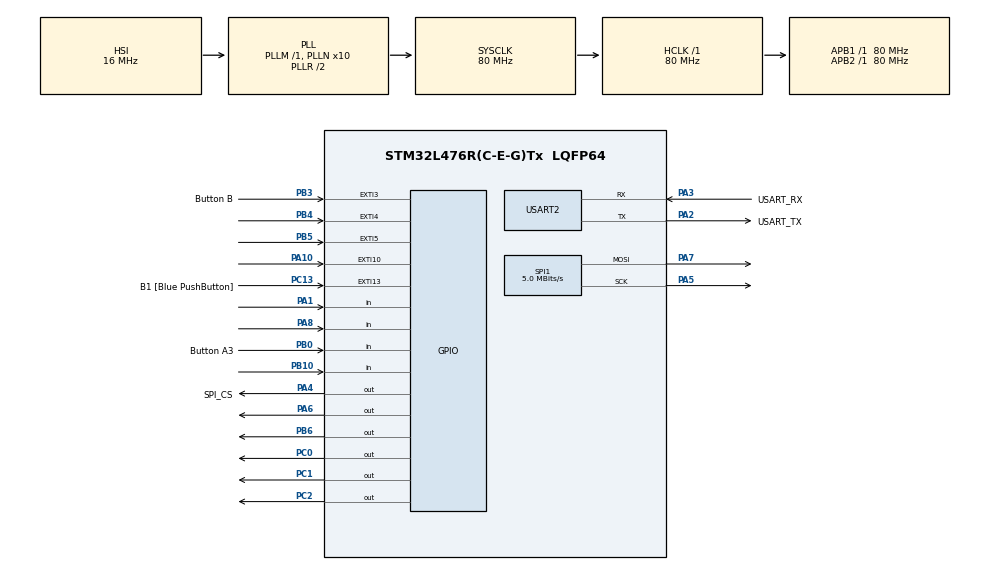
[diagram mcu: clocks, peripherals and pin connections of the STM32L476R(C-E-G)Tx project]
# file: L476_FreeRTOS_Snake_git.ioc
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FREERTOS.Tasks01=defaultTask,24,128,StartDefaultTask,Default,NULL,Dynamic,NULL,NULL
FREERTOS.configTOTAL_HEAP_SIZE=32000
FREERTOS.configUSE_APPLICATION_TASK_TAG=0
FREERTOS.configUSE_OS2_THREAD_ENUMERATE=1
FREERTOS.configUSE_TRACE_FACILITY=1
Mcu.Family=STM32L4
Mcu.Name=STM32L476R(C-E-G)Tx
Mcu.Package=LQFP64
NVIC.EXTI15_10_IRQn=true\:5\:0\:false\:false\:true\:true\:true\:false\:true
NVIC.EXTI3_IRQn=true\:5\:0\:false\:false\:true\:true\:true\:false\:true
NVIC.EXTI4_IRQn=true\:5\:0\:false\:false\:true\:true\:true\:false\:true
NVIC.EXTI9_5_IRQn=true\:5\:0\:false\:false\:true\:true\:true\:false\:true
NVIC.PriorityGroup=NVIC_PRIORITYGROUP_4
NVIC.TIM7_IRQn=true\:15\:0\:false\:false\:true\:false\:false\:true\:true
NVIC.TimeBase=TIM7_IRQn
NVIC.TimeBaseIP=TIM7
PA1.Signal=GPIO_Input
PA10.Signal=GPXTI10
PA13\ (JTMS-SWDIO).GPIO_Label=TMS
PA13\ (JTMS-SWDIO).Mode=Serial_Wire
PA13\ (JTMS-SWDIO).Signal=SYS_JTMS-SWDIO
PA14\ (JTCK-SWCLK).GPIO_Label=TCK
PA14\ (JTCK-SWCLK).Mode=Serial_Wire
PA14\ (JTCK-SWCLK).Signal=SYS_JTCK-SWCLK
PA2.GPIO_Label=USART_TX
PA2.GPIO_Mode=GPIO_MODE_AF_PP
PA2.GPIO_PuPd=GPIO_NOPULL
PA2.GPIO_Speed=GPIO_SPEED_FREQ_VERY_HIGH
PA2.Mode=Asynchronous
PA2.Signal=USART2_TX
PA3.GPIO_Label=USART_RX
PA3.GPIO_Mode=GPIO_MODE_AF_PP
PA3.GPIO_PuPd=GPIO_NOPULL
PA3.GPIO_Speed=GPIO_SPEED_FREQ_VERY_HIGH
PA3.Mode=Asynchronous
PA3.Signal=USART2_RX
PA4.GPIO_Label=SPI_CS
PA4.Signal=GPIO_Output
PA5.Mode=TX_Only_Simplex_Unidirect_Master
PA5.Signal=SPI1_SCK
PA6.Signal=GPIO_Output
PA7.Mode=TX_Only_Simplex_Unidirect_Master
PA7.Signal=SPI1_MOSI
PA8.Signal=GPIO_Input
PB0.GPIO_Label=Button A3
PB0.Signal=GPIO_Input
PB10.Signal=GPIO_Input
PB3\ (JTDO-TRACESWO).GPIO_Label=Button B
PB3\ (JTDO-TRACESWO).Signal=GPXTI3
PB4\ (NJTRST).Signal=GPXTI4
PB5.Signal=GPXTI5
PB6.Signal=GPIO_Output
PC0.Signal=GPIO_Output
PC1.Signal=GPIO_Output
PC13.GPIO_Label=B1 [Blue PushButton]
PC13.GPIO_ModeDefaultEXTI=GPIO_MODE_IT_FALLING
PC13.GPIO_PuPd=GPIO_NOPULL
PC13.Signal=GPXTI13
PC14-OSC32_IN\ (PC14).Mode=LSE-External-Oscillator
PC14-OSC32_IN\ (PC14).Signal=RCC_OSC32_IN
PC15-OSC32_OUT\ (PC15).Mode=LSE-External-Oscillator
PC15-OSC32_OUT\ (PC15).Signal=RCC_OSC32_OUT
PC2.Signal=GPIO_Output
PH0-OSC_IN\ (PH0).Signal=RCC_OSC_IN
PH1-OSC_OUT\ (PH1).Signal=RCC_OSC_OUT
ProjectManager.HeapSize=0x200
ProjectManager.StackSize=0x400
ProjectManager.TargetToolchain=STM32CubeIDE
RCC.ADCFreq_Value=64000000
RCC.AHBFreq_Value=80000000
RCC.APB1Freq_Value=80000000
RCC.APB1TimFreq_Value=80000000
RCC.APB2Freq_Value=80000000
RCC.APB2TimFreq_Value=80000000
RCC.CortexFreq_Value=80000000
RCC.HCLKFreq_Value=80000000
RCC.HSE_VALUE=8000000
RCC.HSI_VALUE=16000000
RCC.MSI_VALUE=4000000
RCC.PLLN=10
RCC.PLLSourceVirtual=RCC_PLLSOURCE_HSI
RCC.PREFETCH_ENABLE=1
RCC.SYSCLKFreq_VALUE=80000000
RCC.SYSCLKSource=RCC_SYSCLKSOURCE_PLLCLK
RCC.USBFreq_Value=64000000
RCC.VCOOutputFreq_Value=160000000
SPI1.BaudRatePrescaler=SPI_BAUDRATEPRESCALER_16
SPI1.CalculateBaudRate=5.0 MBits/s
SPI1.DataSize=SPI_DATASIZE_8BIT
SPI1.Direction=SPI_DIRECTION_2LINES
SPI1.Mode=SPI_MODE_MASTER
SPI1.NSSPMode=SPI_NSS_PULSE_ENABLE
SPI1.VirtualType=VM_MASTER
USART2.VirtualMode-Asynchronous=VM_ASYNC
VP_FREERTOS_VS_CMSIS_V2.Mode=CMSIS_V2
VP_SYS_VS_tim7.Mode=TIM7
board=NUCLEO-L476RG

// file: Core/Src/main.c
/* USER CODE BEGIN Header */
/**
  ******************************************************************************
  * @file           : main.c
  * @brief          : Main program body
  ******************************************************************************
  * @attention
  *
  * Copyright (c) 2022 STMicroelectronics.
  * All rights reserved.
  *
  * This software is licensed under terms that can be found in the LICENSE file
  * in the root directory of this software component.
  * If no LICENSE file comes with this software, it is provided AS-IS.
  *
  ******************************************************************************
  */
/* USER CODE END Header */
#include "main.h"
#include "cmsis_os.h"

/* USER CODE BEGIN Includes */
#include <stdio.h>
#include <stdlib.h>
#include <time.h>
#include "semphr.h"
#include "queue.h"
#include <string.h>
#include <max7219.h>
#include <max7219_matrix.h>
#include <llist.h>
/* USER CODE END Includes */

SPI_HandleTypeDef hspi1;

UART_HandleTypeDef huart2;

/* Definitions for defaultTask */
osThreadId_t defaultTaskHandle;
const osThreadAttr_t defaultTask_attributes = {
  .name = "defaultTask",
  .stack_size = 128 * 4,
  .priority = (osPriority_t) osPriorityNormal,
};

void SystemClock_Config(void);
static void MX_GPIO_Init(void);
static void MX_USART2_UART_Init(void);
static void MX_SPI1_Init(void);
void StartDefaultTask(void *argument);

/* USER CODE BEGIN PFP */
void GameLoop( void *pvParameters );
void ButtonHandler( void *pvParameters );
void CollisionCheck( void *pvParameters );
void PaintDeathScreen( void *pvParameters );
void FoodPositionGenerator( void *pvParameters );
void ButtonHandler_A( void *pvParameters );
void ButtonHandler_B( void *pvParameters );
void ButtonHandler_C( void *pvParameters );
void ButtonHandler_D( void *pvParameters );
void ScreenDriver( void *pvParameters );

QueueHandle_t xDirectionQ, xBoardQ, xSnakeQ, xCellStateQ, xFoodPositionQ;

SemaphoreHandle_t xButtonPressedSem, xGameOverSem, xCheckCollison, xCollisionChecked, xGenerateFood, xFoodGenerated, xRepaintScreen;
SemaphoreHandle_t xHandleButtonPressA, xHandleButtonPressB, xHandleButtonPressC, xHandleButtonPressD;
SemaphoreHandle_t xScreenDriverMutex;

/* USER CODE END PFP */

int main(void)
{
  /* USER CODE BEGIN 1 */

	//srand(212321);
	srand((unsigned int) time(NULL));

  /* USER CODE END 1 */

  /* MCU Configuration--------------------------------------------------------*/

  /* Reset of all peripherals, Initializes the Flash interface and the Systick. */
  HAL_Init();

  /* Configure the system clock */
  SystemClock_Config();

  /* Initialize all configured peripherals */
  MX_GPIO_Init();
  MX_USART2_UART_Init();
  MX_SPI1_Init();
  /* USER CODE BEGIN 2 */
  MAX7219_MatrixInit(&hspi1, SPI_CS_GPIO_Port, SPI_CS_Pin);
  MAX7219_MatrixUpdate();

  /* USER CODE END 2 */

  /* Init scheduler */
  osKernelInitialize();

  /* USER CODE BEGIN RTOS_SEMAPHORES */
  /* add semaphores, ... */

  xButtonPressedSem = xSemaphoreCreateBinary();
  xGameOverSem = xSemaphoreCreateBinary();
  xCheckCollison = xSemaphoreCreateBinary();
  xCollisionChecked = xSemaphoreCreateBinary();
  xGenerateFood = xSemaphoreCreateBinary();
  xFoodGenerated = xSemaphoreCreateBinary();
  xHandleButtonPressA = xSemaphoreCreateBinary();
  xHandleButtonPressB = xSemaphoreCreateBinary();
  xHandleButtonPressC = xSemaphoreCreateBinary();
  xHandleButtonPressD = xSemaphoreCreateBinary();
  xRepaintScreen = xSemaphoreCreateBinary();

  xScreenDriverMutex = xSemaphoreCreateMutex();
  /* USER CODE END RTOS_SEMAPHORES */

  /* USER CODE BEGIN RTOS_QUEUES */
  /* add queues, ... */

//  int test[4][8][8];
//  memset(test, 0, sizeof(test));
  xDirectionQ = xQueueCreate( 10, sizeof( char ) );
  xBoardQ = xQueueCreate( 2, sizeof( int ) *4 *8 *8 );
  xSnakeQ = xQueueCreate( 2, sizeof(  llist ) );
  //xCellStateQ = xQueueCreate( 5, sizeof( int ));
  xFoodPositionQ = xQueueCreate( 5, sizeof( int ) * 3);
  /* USER CODE END RTOS_QUEUES */

  /* Create the thread(s) */
  /* creation of defaultTask */
  defaultTaskHandle = osThreadNew(StartDefaultTask, NULL, &defaultTask_attributes);

  /* USER CODE BEGIN RTOS_THREADS */
  /* add threads, ... */
  xTaskCreate(GameLoop, "GameLoop", configMINIMAL_STACK_SIZE*8, NULL, 1, NULL );
  //xTaskCreate(ButtonHandler, "ButtonHandler", configMINIMAL_STACK_SIZE, NULL, 2, NULL );
  //xTaskCreate(CollisionCheck, "CollisionCheck", configMINIMAL_STACK_SIZE*8, NULL, 2, NULL );
  xTaskCreate(PaintDeathScreen, "PaintDeathScreen", configMINIMAL_STACK_SIZE, NULL, 5, NULL );
  xTaskCreate(FoodPositionGenerator, "FoodPositionGenerator", configMINIMAL_STACK_SIZE, NULL, 1, NULL );
  xTaskCreate(ButtonHandler_A, "ButtonHandler_A", configMINIMAL_STACK_SIZE, NULL, 3, NULL );
  xTaskCreate(ButtonHandler_B, "ButtonHandler_B", configMINIMAL_STACK_SIZE, NULL, 3, NULL );
  xTaskCreate(ButtonHandler_C, "ButtonHandler_C", configMINIMAL_STACK_SIZE, NULL, 3, NULL );
  xTaskCreate(ButtonHandler_D, "ButtonHandler_D", configMINIMAL_STACK_SIZE, NULL, 3, NULL );
  xTaskCreate(ScreenDriver, "ScreenDriver", configMINIMAL_STACK_SIZE*8, NULL, 1, NULL );

  // LOW
  /* USER CODE END RTOS_THREADS */

  /* Start scheduler */
  osKernelStart();

  /* We should never get here as control is now taken by the scheduler */
  /* Infinite loop */
  while (1)
  {

  }
}

void SystemClock_Config(void)
{
  RCC_OscInitTypeDef RCC_OscInitStruct = {0};
  RCC_ClkInitTypeDef RCC_ClkInitStruct = {0};

  /** Configure the main internal regulator output voltage
  */
  if (HAL_PWREx_ControlVoltageScaling(PWR_REGULATOR_VOLTAGE_SCALE1) != HAL_OK)
  {
    Error_Handler();
  }

  /** Initializes the RCC Oscillators according to the specified parameters
  * in the RCC_OscInitTypeDef structure.
  */
  RCC_OscInitStruct.OscillatorType = RCC_OSCILLATORTYPE_HSI;
  RCC_OscInitStruct.HSIState = RCC_HSI_ON;
  RCC_OscInitStruct.HSICalibrationValue = RCC_HSICALIBRATION_DEFAULT;
  RCC_OscInitStruct.PLL.PLLState = RCC_PLL_ON;
  RCC_OscInitStruct.PLL.PLLSource = RCC_PLLSOURCE_HSI;
  RCC_OscInitStruct.PLL.PLLM = 1;
  RCC_OscInitStruct.PLL.PLLN = 10;
  RCC_OscInitStruct.PLL.PLLP = RCC_PLLP_DIV7;
  RCC_OscInitStruct.PLL.PLLQ = RCC_PLLQ_DIV2;
  RCC_OscInitStruct.PLL.PLLR = RCC_PLLR_DIV2;
  if (HAL_RCC_OscConfig(&RCC_OscInitStruct) != HAL_OK)
  {
    Error_Handler();
  }

  /** Initializes the CPU, AHB and APB buses clocks
  */
  RCC_ClkInitStruct.ClockType = RCC_CLOCKTYPE_HCLK|RCC_CLOCKTYPE_SYSCLK
                              |RCC_CLOCKTYPE_PCLK1|RCC_CLOCKTYPE_PCLK2;
  RCC_ClkInitStruct.SYSCLKSource = RCC_SYSCLKSOURCE_PLLCLK;
  RCC_ClkInitStruct.AHBCLKDivider = RCC_SYSCLK_DIV1;
  RCC_ClkInitStruct.APB1CLKDivider = RCC_HCLK_DIV1;
  RCC_ClkInitStruct.APB2CLKDivider = RCC_HCLK_DIV1;

  if (HAL_RCC_ClockConfig(&RCC_ClkInitStruct, FLASH_LATENCY_4) != HAL_OK)
  {
    Error_Handler();
  }
}

static void MX_SPI1_Init(void)
{

  /* SPI1 parameter configuration*/
  hspi1.Instance = SPI1;
  hspi1.Init.Mode = SPI_MODE_MASTER;
  hspi1.Init.Direction = SPI_DIRECTION_2LINES;
  hspi1.Init.DataSize = SPI_DATASIZE_8BIT;
  hspi1.Init.CLKPolarity = SPI_POLARITY_LOW;
  hspi1.Init.CLKPhase = SPI_PHASE_1EDGE;
  hspi1.Init.NSS = SPI_NSS_SOFT;
  hspi1.Init.BaudRatePrescaler = SPI_BAUDRATEPRESCALER_16;
  hspi1.Init.FirstBit = SPI_FIRSTBIT_MSB;
  hspi1.Init.TIMode = SPI_TIMODE_DISABLE;
  hspi1.Init.CRCCalculation = SPI_CRCCALCULATION_DISABLE;
  hspi1.Init.CRCPolynomial = 7;
  hspi1.Init.CRCLength = SPI_CRC_LENGTH_DATASIZE;
  hspi1.Init.NSSPMode = SPI_NSS_PULSE_ENABLE;
  if (HAL_SPI_Init(&hspi1) != HAL_OK)
  {
    Error_Handler();
  }

}

static void MX_USART2_UART_Init(void)
{

  huart2.Instance = USART2;
  huart2.Init.BaudRate = 115200;
  huart2.Init.WordLength = UART_WORDLENGTH_8B;
  huart2.Init.StopBits = UART_STOPBITS_1;
  huart2.Init.Parity = UART_PARITY_NONE;
  huart2.Init.Mode = UART_MODE_TX_RX;
  huart2.Init.HwFlowCtl = UART_HWCONTROL_NONE;
  huart2.Init.OverSampling = UART_OVERSAMPLING_16;
  huart2.Init.OneBitSampling = UART_ONE_BIT_SAMPLE_DISABLE;
  huart2.AdvancedInit.AdvFeatureInit = UART_ADVFEATURE_NO_INIT;
  if (HAL_UART_Init(&huart2) != HAL_OK)
  {
    Error_Handler();
  }

}

static void MX_GPIO_Init(void)
{
  GPIO_InitTypeDef GPIO_InitStruct = {0};

  /* GPIO Ports Clock Enable */
  __HAL_RCC_GPIOC_CLK_ENABLE();
  __HAL_RCC_GPIOH_CLK_ENABLE();
  __HAL_RCC_GPIOA_CLK_ENABLE();
  __HAL_RCC_GPIOB_CLK_ENABLE();

  /*Configure GPIO pin Output Level */
  HAL_GPIO_WritePin(GPIOC, GPIO_PIN_0|GPIO_PIN_1|GPIO_PIN_2, GPIO_PIN_RESET);

  /*Configure GPIO pin Output Level */
  HAL_GPIO_WritePin(GPIOA, SPI_CS_Pin|GPIO_PIN_6, GPIO_PIN_RESET);

  /*Configure GPIO pin Output Level */
  HAL_GPIO_WritePin(GPIOB, GPIO_PIN_6, GPIO_PIN_RESET);

  /*Configure GPIO pin : B1_Pin */
  GPIO_InitStruct.Pin = B1_Pin;
  GPIO_InitStruct.Mode = GPIO_MODE_IT_FALLING;
  GPIO_InitStruct.Pull = GPIO_NOPULL;
  HAL_GPIO_Init(B1_GPIO_Port, &GPIO_InitStruct);

  /*Configure GPIO pins : PC0 PC1 PC2 */
  GPIO_InitStruct.Pin = GPIO_PIN_0|GPIO_PIN_1|GPIO_PIN_2;
  GPIO_InitStruct.Mode = GPIO_MODE_OUTPUT_PP;
  GPIO_InitStruct.Pull = GPIO_NOPULL;
  GPIO_InitStruct.Speed = GPIO_SPEED_FREQ_LOW;
  HAL_GPIO_Init(GPIOC, &GPIO_InitStruct);

  /*Configure GPIO pins : PA1 PA8 */
  GPIO_InitStruct.Pin = GPIO_PIN_1|GPIO_PIN_8;
  GPIO_InitStruct.Mode = GPIO_MODE_INPUT;
  GPIO_InitStruct.Pull = GPIO_NOPULL;
  HAL_GPIO_Init(GPIOA, &GPIO_InitStruct);

  /*Configure GPIO pins : SPI_CS_Pin PA6 */
  GPIO_InitStruct.Pin = SPI_CS_Pin|GPIO_PIN_6;
  GPIO_InitStruct.Mode = GPIO_MODE_OUTPUT_PP;
  GPIO_InitStruct.Pull = GPIO_NOPULL;
  GPIO_InitStruct.Speed = GPIO_SPEED_FREQ_LOW;
  HAL_GPIO_Init(GPIOA, &GPIO_InitStruct);

  /*Configure GPIO pins : Button_A3_Pin PB10 */
  GPIO_InitStruct.Pin = Button_A3_Pin|GPIO_PIN_10;
  GPIO_InitStruct.Mode = GPIO_MODE_INPUT;
  GPIO_InitStruct.Pull = GPIO_NOPULL;
  HAL_GPIO_Init(GPIOB, &GPIO_InitStruct);

  /*Configure GPIO pin : PA10 */
  GPIO_InitStruct.Pin = GPIO_PIN_10;
  GPIO_InitStruct.Mode = GPIO_MODE_IT_RISING;
  GPIO_InitStruct.Pull = GPIO_NOPULL;
  HAL_GPIO_Init(GPIOA, &GPIO_InitStruct);

  /*Configure GPIO pins : Button_B_Pin PB4 PB5 */
  GPIO_InitStruct.Pin = Button_B_Pin|GPIO_PIN_4|GPIO_PIN_5;
  GPIO_InitStruct.Mode = GPIO_MODE_IT_RISING;
  GPIO_InitStruct.Pull = GPIO_NOPULL;
  HAL_GPIO_Init(GPIOB, &GPIO_InitStruct);

  /*Configure GPIO pin : PB6 */
  GPIO_InitStruct.Pin = GPIO_PIN_6;
  GPIO_InitStruct.Mode = GPIO_MODE_OUTPUT_PP;
  GPIO_InitStruct.Pull = GPIO_NOPULL;
  GPIO_InitStruct.Speed = GPIO_SPEED_FREQ_LOW;
  HAL_GPIO_Init(GPIOB, &GPIO_InitStruct);

  /* EXTI interrupt init*/
  HAL_NVIC_SetPriority(EXTI3_IRQn, 5, 0);
  HAL_NVIC_EnableIRQ(EXTI3_IRQn);

  HAL_NVIC_SetPriority(EXTI4_IRQn, 5, 0);
  HAL_NVIC_EnableIRQ(EXTI4_IRQn);

  HAL_NVIC_SetPriority(EXTI9_5_IRQn, 5, 0);
  HAL_NVIC_EnableIRQ(EXTI9_5_IRQn);

  HAL_NVIC_SetPriority(EXTI15_10_IRQn, 5, 0);
  HAL_NVIC_EnableIRQ(EXTI15_10_IRQn);

}

/* USER CODE BEGIN 4 */
void EXTI3_IRQHandler(void)
{
  /* USER CODE BEGIN EXTI3_IRQn 0 */
	static  BaseType_t xHigherPriorityTaskWoken;
	xHigherPriorityTaskWoken = pdFALSE;
	__HAL_GPIO_EXTI_CLEAR_IT(GPIO_PIN_3);

	xSemaphoreGiveFromISR( xHandleButtonPressB, &xHigherPriorityTaskWoken );

	portYIELD_FROM_ISR( xHigherPriorityTaskWoken );

  /* USER CODE END EXTI3_IRQn 0 */

  /* USER CODE BEGIN EXTI3_IRQn 1 */

  /* USER CODE END EXTI3_IRQn 1 */
}

/**
  * @brief This function handles EXTI line4 interrupt.
  */
void EXTI4_IRQHandler(void)
{
  /* USER CODE BEGIN EXTI4_IRQn 0 */
	static  BaseType_t xHigherPriorityTaskWoken;
		xHigherPriorityTaskWoken = pdFALSE;
		__HAL_GPIO_EXTI_CLEAR_IT(GPIO_PIN_4);

		xSemaphoreGiveFromISR( xHandleButtonPressD, &xHigherPriorityTaskWoken );

		portYIELD_FROM_ISR( xHigherPriorityTaskWoken );

  /* USER CODE END EXTI4_IRQn 0 */
  /* USER CODE BEGIN EXTI4_IRQn 1 */

  /* USER CODE END EXTI4_IRQn 1 */
}

/**
  * @brief This function handles EXTI line[9:5] interrupts.
  */
void EXTI9_5_IRQHandler(void)
{
  /* USER CODE BEGIN EXTI9_5_IRQn 0 */
	static  BaseType_t xHigherPriorityTaskWoken;
		xHigherPriorityTaskWoken = pdFALSE;
		__HAL_GPIO_EXTI_CLEAR_IT(GPIO_PIN_5);

		xSemaphoreGiveFromISR( xHandleButtonPressC, &xHigherPriorityTaskWoken );

		portYIELD_FROM_ISR( xHigherPriorityTaskWoken );

  /* USER CODE END EXTI9_5_IRQn 0 */
  /* USER CODE BEGIN EXTI9_5_IRQn 1 */

  /* USER CODE END EXTI9_5_IRQn 1 */
}

/**
  * @brief This function handles EXTI line[15:10] interrupts.
  */
void EXTI15_10_IRQHandler(void)
{
  /* USER CODE BEGIN EXTI15_10_IRQn 0 */
	static  BaseType_t xHigherPriorityTaskWoken;
		xHigherPriorityTaskWoken = pdFALSE;
		__HAL_GPIO_EXTI_CLEAR_IT(GPIO_PIN_10);

		xSemaphoreGiveFromISR( xHandleButtonPressA, &xHigherPriorityTaskWoken );

		portYIELD_FROM_ISR( xHigherPriorityTaskWoken );

  /* USER CODE END EXTI15_10_IRQn 0 */
  /* USER CODE BEGIN EXTI15_10_IRQn 1 */

  /* USER CODE END EXTI15_10_IRQn 1 */
}

void ButtonHandler_A( void *pvParameters ){
	char buttonLetter = 'a';

	for(;;)
	    {

			if( xSemaphoreTake( xHandleButtonPressA, ( TickType_t ) portMAX_DELAY) == pdTRUE );
			xQueueSend( xDirectionQ, ( void * ) &buttonLetter,  portMAX_DELAY );
			xSemaphoreGive( xButtonPressedSem );
	    }
};
void ButtonHandler_B( void *pvParameters ){
	char buttonLetter = 'b';
	for(;;)
		    {

				if( xSemaphoreTake( xHandleButtonPressB, ( TickType_t ) portMAX_DELAY) == pdTRUE );
				xQueueSend( xDirectionQ, ( void * ) &buttonLetter,  portMAX_DELAY );
				xSemaphoreGive( xButtonPressedSem );
		    }
};
void ButtonHandler_C( void *pvParameters ){
	char buttonLetter = 'c';
	for(;;)
		    {

				if( xSemaphoreTake( xHandleButtonPressC, ( TickType_t ) portMAX_DELAY) == pdTRUE );
				xQueueSend( xDirectionQ, ( void * ) &buttonLetter,  portMAX_DELAY );
				xSemaphoreGive( xButtonPressedSem );
		    }
};
void ButtonHandler_D( void *pvParameters ){
	char buttonLetter = 'd';
	for(;;)
		    {

				if( xSemaphoreTake( xHandleButtonPressD, ( TickType_t ) portMAX_DELAY) == pdTRUE );
				xQueueSend( xDirectionQ, ( void * ) &buttonLetter,  portMAX_DELAY );
				xSemaphoreGive( xButtonPressedSem );
		    }

};

void ScreenDriver( void * pvParameters ){
	int board[4][8][8];

	for(;;)
			    {
		if( xSemaphoreTake( xRepaintScreen, ( TickType_t ) portMAX_DELAY) == pdTRUE );
		xQueueReceive( xBoardQ, &board, ( TickType_t ) 10 );

		MAX7219_paintPoints(0, board[0]);
		MAX7219_paintPoints(1, board[1]);
		MAX7219_paintPoints(2, board[2]);
		MAX7219_paintPoints(3, board[3]);
		MAX7219_MatrixUpdate();
			    }

};

void GameLoop( void * pvParameters )

{
	int board[4][8][8];
	char direction = 'a';
	char previousDirection = 'a';
	int delay = 250;
	int cellState = 0;
	int foodTimeout = 3;
	int food[3];
	int grow = 0;

	memset(board, 0, sizeof(board));

	llist *snake = llist_create(NULL);
	llist_push(snake, 0,4,1);
	llist_push(snake, 0,4,2);

	llist_printSnake(snake, board);

	if( xSemaphoreTake( xScreenDriverMutex, ( TickType_t ) portMAX_DELAY) == pdTRUE ) ;

	xQueueSend( xBoardQ, ( void * ) &board,  1 );
	xSemaphoreGive( xRepaintScreen );

	xSemaphoreGive(xScreenDriverMutex);

	vTaskDelay(delay);

    for(;;)
    {

    	if( xSemaphoreTake( xButtonPressedSem, ( TickType_t ) 1) == pdTRUE ){
    		previousDirection = direction;
    		xQueueReceive( xDirectionQ, &direction, ( TickType_t ) 10 );
    		switch (direction)
			{
				case 'b':
					if (previousDirection == 'd') direction = previousDirection;

					break;
				case 'd':

					if (previousDirection == 'b') direction = previousDirection;
					break;
				case 'c':

					if (previousDirection == 'a') direction = previousDirection;
					break;
				case 'a':

					if (previousDirection == 'c') direction = previousDirection;

					break;
				default:
					break;
			}

    		xQueueReset(xDirectionQ);
    	}else {

    		switch (direction)
			{
			case 'b':
				cellState = checkOccupiedDown( snake, board);

					if (cellState == 1 || cellState == -1) xSemaphoreGive( xGameOverSem );
					if (cellState == 2 ) {
						foodTimeout = 0;
						grow = 1;
					}
					 moveDown(snake, grow);

				break;
			case 'd':
				cellState = checkOccupiedUp( snake, board);

					if (cellState == 1 || cellState == -1) xSemaphoreGive( xGameOverSem );
					if (cellState == 2 ) {
										foodTimeout = 0;
										grow = 1;
									}
					moveUp(snake, grow);

				break;
			case 'c':
				cellState = checkOccupiedLeft( snake, board);

					if (cellState == 1 || cellState == -1) xSemaphoreGive( xGameOverSem );
					if (cellState == 2 ) {
										foodTimeout = 0;
										grow = 1;
									}
					 moveLeft(snake, grow);

				break;
			case 'a':
				cellState = checkOccupiedRight( snake, board);

					if (cellState == 1 || cellState == -1) xSemaphoreGive( xGameOverSem );
					if (cellState == 2 ) {
						foodTimeout = 0;
						grow = 1;
					}
					moveRight(snake, grow);

// not used, proof of concept:

				//if (checkOccupiedRight( *snake, board) != 0 ) xSemaphoreGive( xGameOverSem );
//				xQueueSend( xBoardQ, ( void * ) &board,  1 );
//				xQueueSend( xSnakeQ, ( void * ) &snake,  1 );
//				xSemaphoreGive( xCheckCollison );
//				if(xSemaphoreTake( xCollisionChecked, ( TickType_t ) portMAX_DELAY) == pdTRUE);
//				xQueueReceive( xCellStateQ, &cellState, ( TickType_t ) 10 );
				break;
			default:
				break;
			}
    		if (grow == 1) if (delay > 150) delay = delay - 5;
    		grow = 0;

    		memset(board, 0, sizeof(board));

    		if (foodTimeout == 6){
    			xQueueReset(xSnakeQ);
				xQueueSend( xSnakeQ, ( void * ) &snake,  10 );
				xSemaphoreGive( xGenerateFood );

				if(xSemaphoreTake( xFoodGenerated, ( TickType_t ) portMAX_DELAY) == pdTRUE);
				xQueueReceive( xFoodPositionQ, &food, ( TickType_t ) 10 );

			}
    		if (foodTimeout >= 6) board[food[0]][food[2]][food[1]] = 2;

        	llist_printSnake(snake, board);

//        	board[3][0][0] = 1; test code
//        	board[3][0][1] = 1;
//        	board[3][2][0] = 1;

        	if( xSemaphoreTake( xScreenDriverMutex, ( TickType_t ) portMAX_DELAY) == pdTRUE ) ;

			xQueueSend( xBoardQ, ( void * ) &board,  1 );
			xSemaphoreGive( xRepaintScreen );

			xSemaphoreGive(xScreenDriverMutex);

    		vTaskDelay(delay);
    		foodTimeout++;
    	}

    }

}

void FoodPositionGenerator(void *  pvParameters){

	llist *snakeBody;
	int display;
	int x;
	int y;
	int valid = 0;
	int food[3];
	for (int i = 0; i < 50; ++i) {
		rand();
	}

	for(;;) {

		if(xSemaphoreTake( xGenerateFood, ( TickType_t ) portMAX_DELAY) == pdTRUE);

		xQueueReceive( xSnakeQ, &snakeBody, ( TickType_t ) portMAX_DELAY );

		display = rand() % 4;

		x = rand() % 8;
		y = rand() % 8;

		while(valid == 0 ){
			struct node *curr = *snakeBody;
			valid = 1;

			display = rand() % 4;

			x = rand() % 8;
			y = rand() % 8;

			while (curr != NULL) {

				if (curr->x == x  && curr->y == y && curr->display == display) {
					valid = 0;
					break;
				};

				curr = curr->next;
			}
		}

		food[0] = display;
		food[1] = x;
		food[2] = y;

		xQueueSend( xFoodPositionQ, (void *) &food,  1 );
		xSemaphoreGive( xFoodGenerated );
	}
}

void CollisionCheck( void * pvParameters ) //not used
{

	int board[4][8][8];
	llist *snakeBody = llist_create(NULL);
	int cellState;
    for(;;)
    {
    	if(xSemaphoreTake( xCheckCollison, ( TickType_t ) portMAX_DELAY) == pdTRUE);

    	xQueueReceive( xBoardQ, &board, ( TickType_t ) 10 );
    	xQueueReceive( xSnakeQ, &snakeBody, ( TickType_t ) 10 );

    	cellState = checkOccupiedRight( snakeBody, board);
    	if (cellState != 0 ) xSemaphoreGive( xGameOverSem );
    	xQueueSend( xCellStateQ, (void *) &cellState,  1 );
    	xSemaphoreGive( xCollisionChecked );

    }
}

void ButtonHandler( void * pvParameters ) // not used
{

	char buttonPressed;
    for(;;)
    {

    	if (HAL_GPIO_ReadPin(GPIOA, GPIO_PIN_10) == 0) {
      		buttonPressed = 'a';
      		xQueueReset(xDirectionQ);
      		xQueueSend( xDirectionQ, ( void * ) &buttonPressed,  1 );
      		xSemaphoreGive( xButtonPressedSem );
      	}
    	if (HAL_GPIO_ReadPin(GPIOB, GPIO_PIN_3) == 0) {
    	      		buttonPressed = 'b';
    	      		xQueueReset(xDirectionQ);
    	      		xQueueSend( xDirectionQ, ( void * ) &buttonPressed,  1 );
    	      		xSemaphoreGive( xButtonPressedSem );
    	      	}
    	if (HAL_GPIO_ReadPin(GPIOB, GPIO_PIN_5) == 0) {
    	      		buttonPressed = 'c';
    	      		xQueueReset(xDirectionQ);
    	      		xQueueSend( xDirectionQ, ( void * ) &buttonPressed,  1 );
    	      		xSemaphoreGive( xButtonPressedSem );
    	      	}
    	if (HAL_GPIO_ReadPin(GPIOB, GPIO_PIN_4) == 0) {
    	      		buttonPressed = 'd';
    	      		xQueueReset(xDirectionQ);
    	      		xQueueSend( xDirectionQ, ( void * ) &buttonPressed,  1 );
    	      		xSemaphoreGive( xButtonPressedSem );
    	      	}
    	vTaskDelay(50);

    }
}

void PaintDeathScreen( void * pvParameters )
{
	const uint64_t IMAGES[] = {
	  0xff00000000000000,
	  0xff18000000000000,
	  0xff24180000000000,
	  0xff5a241800000000,
	  0xff7e5a2418000000,
	  0xff7e7e5a24180000,
	  0xff5a7e7e5a241800,
	  0xff5a5a7e7e5a2418,
	  0xff5a5a7e7e5a2418
	};
	const int IMAGES_LEN = sizeof(IMAGES)/8;

	if(xSemaphoreTake( xGameOverSem, ( TickType_t ) portMAX_DELAY) == pdTRUE);
	if( xSemaphoreTake( xScreenDriverMutex, ( TickType_t ) portMAX_DELAY) == pdTRUE ) ;

    for(;;)
    {
    	for (int i = 0; i < IMAGES_LEN; ++i) {
    			MAX7219_MatrixSetRow64(0, IMAGES[i]);
    			MAX7219_MatrixSetRow64(1, IMAGES[i]);
    			MAX7219_MatrixSetRow64(2, IMAGES[i]);
    			MAX7219_MatrixSetRow64(3, IMAGES[i]);
    			MAX7219_MatrixUpdate();
    			vTaskDelay(150);

    		}

    		vTaskDelay(500);
    		MAX7219_MatrixSetRow64(0, CHR('D'));
    					MAX7219_MatrixSetRow64(1, CHR('E'));
    					  MAX7219_MatrixSetRow64(2, CHR('A'));
    					MAX7219_MatrixSetRow64(3, CHR('D'));
    					MAX7219_MatrixUpdate();
     vTaskDelay(1000);
    }
}

/* USER CODE END 4 */

void StartDefaultTask(void *argument)
{
  for(;;)
  {
    osDelay(1);
  }
}

void HAL_TIM_PeriodElapsedCallback(TIM_HandleTypeDef *htim)
{
  if (htim->Instance == TIM7) {
    HAL_IncTick();
  }
}

void Error_Handler(void)
{
  __disable_irq();
  while (1)
  {
  }
}
